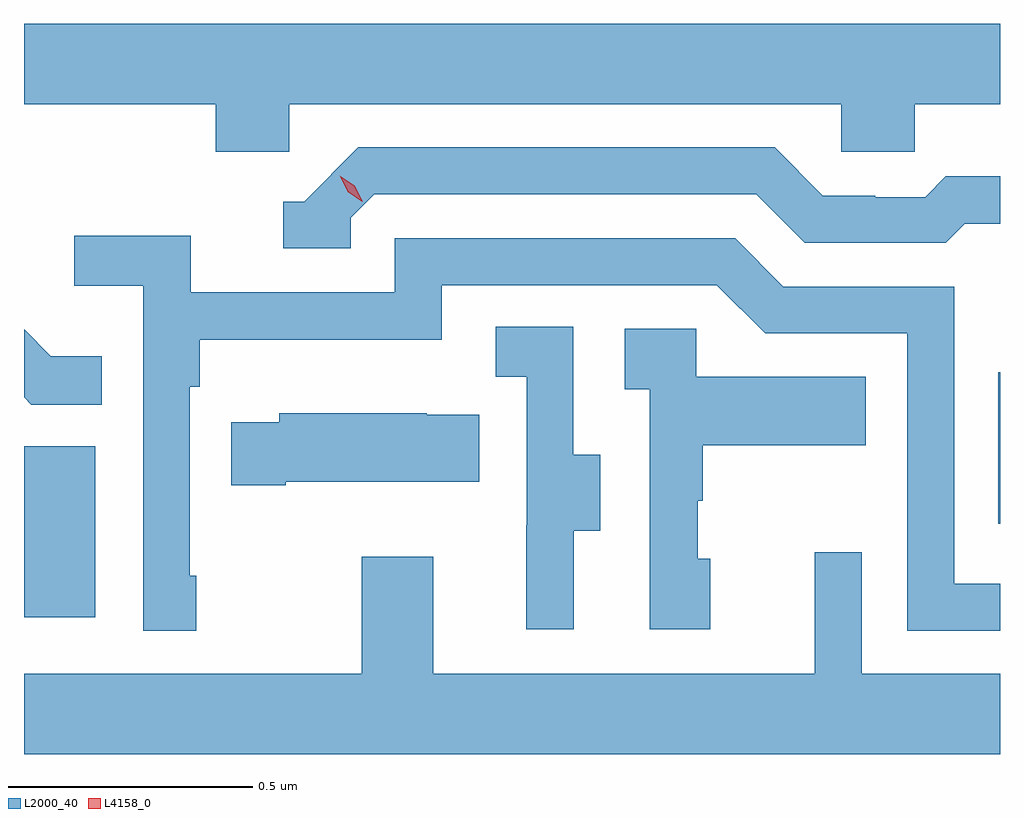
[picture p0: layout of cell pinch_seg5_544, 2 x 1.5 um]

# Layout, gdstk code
import gdstk
lib = gdstk.Library(unit=1e-6, precision=1e-09)
def R(c, l, rs):  # rectangles x0, y0, x1, y1
    for r in rs: c.add(gdstk.rectangle(r[:2], r[2:], *l))
def P(c, l, *ps):  # polygons
    for p in ps: c.add(gdstk.Polygon(p, *l))
L2000_40 = (2000, 40)
L4158_0 = (4158, 0)

pinch_seg5_544 = lib.new_cell('pinch_seg5_544')
R(pinch_seg5_544, L2000_40, [(1002.074,841.056,1002.22,841.407), (1004.07,841.248,1004.074,841.558)])
P(pinch_seg5_544, L2000_40, [(1002.618,842.108),(1003.749,842.108),(1003.749,842.01),(1003.899,842.01),(1003.899,842.108),(1004.074,842.108),(1004.074,842.272),(1002.074,842.272),(1002.074,842.108),(1002.467,842.108),(1002.467,842.01),(1002.618,842.01)],
  [(1002.744,841.875),(1002.792,841.923),(1003.575,841.923),(1003.674,841.824),(1003.963,841.824),(1004.002,841.863),(1004.074,841.863),(1004.074,841.96),(1003.963,841.96),(1003.921,841.917),(1003.818,841.917),(1003.818,841.92),(1003.711,841.92),(1003.612,842.019),(1002.759,842.019),(1002.648,841.908),(1002.605,841.908),(1002.605,841.812),(1002.744,841.812)],
  [(1002.427,841.141),(1002.414,841.141),(1002.414,841.529),(1002.434,841.529),(1002.434,841.625),(1002.93,841.625),(1002.93,841.737),(1003.494,841.737),(1003.593,841.638),(1003.884,841.638),(1003.884,841.029),(1004.074,841.029),(1004.074,841.125),(1003.98,841.125),(1003.98,841.734),(1003.63,841.734),(1003.531,841.833),(1002.834,841.833),(1002.834,841.722),(1002.416,841.722),(1002.416,841.838),(1002.177,841.838),(1002.177,841.736),(1002.318,841.736),(1002.318,841.029),(1002.427,841.029)],
  [(1003.201,841.234),(1003.255,841.234),(1003.255,841.389),(1003.2,841.389),(1003.2,841.652),(1003.041,841.652),(1003.041,841.549),(1003.104,841.549),(1003.104,841.245),(1003.103,841.245),(1003.103,841.032),(1003.201,841.032)],
  [(1003.48,841.176),(1003.455,841.176),(1003.455,841.295),(1003.465,841.295),(1003.465,841.409),(1003.799,841.409),(1003.799,841.549),(1003.452,841.549),(1003.452,841.647),(1003.305,841.647),(1003.305,841.523),(1003.356,841.523),(1003.356,841.032),(1003.48,841.032)],
  [(1002.233,841.591),(1002.129,841.591),(1002.074,841.646),(1002.074,841.507),(1002.089,841.492),(1002.233,841.492)],
  [(1002.61,841.334),(1003.007,841.334),(1003.007,841.471),(1002.899,841.471),(1002.899,841.474),(1002.597,841.474),(1002.597,841.456),(1002.499,841.456),(1002.499,841.327),(1002.61,841.327)],
  [(1004.074,840.94),(1003.791,840.94),(1003.791,841.189),(1003.694,841.189),(1003.694,840.94),(1002.913,840.94),(1002.913,841.18),(1002.766,841.18),(1002.766,840.94),(1002.074,840.94),(1002.074,840.776),(1004.074,840.776)])
P(pinch_seg5_544, L4158_0, [(1002.767,841.908),(1002.737,841.928),(1002.721,841.961),(1002.721,841.961),(1002.721,841.961),(1002.752,841.941),(1002.767,841.909),(1002.767,841.908)])

lib.write_gds('pinch_seg5_544.gds')
